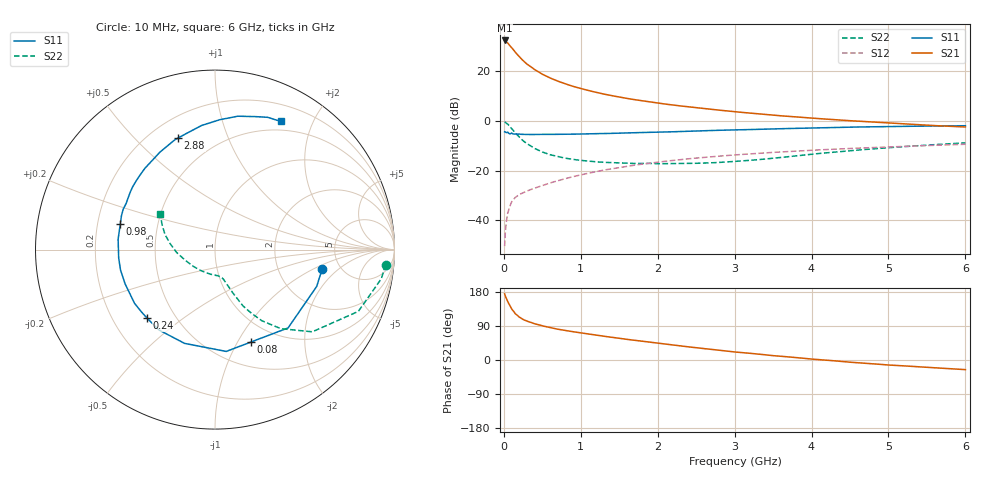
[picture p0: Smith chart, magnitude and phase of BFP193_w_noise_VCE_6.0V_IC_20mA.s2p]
! Infineon Technologies  Discrete & RF Semiconductors
! BFP193
! VCE = 6.0 V,  IC =  20 mA
! Common Emitter S-Parameters:  Jan 2016
# GHz  S  MA  R  50
!  f  S11  S21  S12  S22
! GHz  MAG  ANG  MAG  ANG  MAG  ANG  MAG  ANG
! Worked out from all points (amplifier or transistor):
!   210 points, 10 MHz to 6 GHz, reference 50 ohm
!   highest |S21| = 32.5 dB at 10 MHz (marker M1)
!   |S21| within 3 dB of that: start of sweep to 105.3 MHz
!   unconditionally stable (mu >= 1): 809.8 MHz to 3.894 GHz
!   at 185 MHz: K = 0.47, MSG = 28.2 dB, |S12| = -30.0 dB
!   at 1.52 GHz: K = 1.07, MAG = 12.5 dB, |S12| = -18.6 dB
!   at 6 GHz: K = 0.92, MSG = 3.5 dB, |S12| = -9.4 dB
!   lowest NFmin = 1.40 dB at 450 MHz
!   S11 on the Smith chart (normalised r, x): 10 MHz: 3.63, -1.24; 80 MHz: 0.77, -1.14; 240 MHz: 0.35, -0.37; 980 MHz: 0.30, +0.12; 2.88 GHz: 0.31, +0.67; 6 GHz: 0.39, +1.57
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0.01  0.6067 -10.2  42.01 174.6  0.003 86.3  0.9539 -5.1
0.02  0.6027 -19.9  40.6 168.0  0.0059 77.3  0.941 -9.9
0.05  0.5968 -47.0  37.37 153.6  0.0137 71.3  0.8698 -23.3
0.08  0.5526 -68.7  32.79 143.2  0.0193 62.7  0.7652 -32.6
0.1  0.5708 -83.7  30.48 134.7  0.0232 59.3  0.7094 -40.2
0.15  0.5493 -108.0  24.14 121.8  0.0289 52.8  0.5722 -50.3
0.2  0.546 -124.9  19.79 113.3  0.0328 50.4  0.4735 -56.7
0.24  0.5375 -134.7  17.08 108.3  0.0351 49.6  0.4133 -59.9
0.26  0.5371 -139.0  15.95 106.0  0.0363 49.5  0.3887 -61.3
0.3  0.5392 -146.2  14.05 102.3  0.0388 49.9  0.3498 -63.6
0.4  0.5361 -159.3  10.88 95.6  0.0443 51.4  0.2801 -66.7
0.5  0.5385 -167.9  8.772 90.1  0.0498 53.0  0.2371 -68.8
0.7  0.5389 178.6  6.373 81.3  0.0622 55.3  0.1918 -72.0
0.98  0.5465 165.1  4.604 72.1  0.0806 56.4  0.1624 -76.1
1.02  0.5489 163.3  4.43 70.8  0.0833 56.5  0.1598 -76.9
1.4  0.5639 149.2  3.243 60.0  0.1085 55.1  0.1453 -85.5
2.02  0.5985 130.4  2.277 44.0  0.1495 49.9  0.1376 -104.8
2.88  0.6546 108.4  1.607 24.0  0.2003 40.4  0.1488 -138.6
3.1  0.6661 103.9  1.49 19.5  0.2121 37.9  0.1569 -147.0
4.1  0.7295 86.3  1.116 1.0  0.2618 26.9  0.2216 -178.5
5.1  0.7751 72.9  0.895 -14.3  0.304 16.2  0.2973 161.4
6  0.8024 62.9  0.757 -25.4  0.3397 6.8  0.3628 147.1
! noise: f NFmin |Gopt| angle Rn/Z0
0.45  1.4  0.3  160  0.1
0.9  1.45  0.34  172  0.11
1.8  2.2  0.56  -148  0.2
